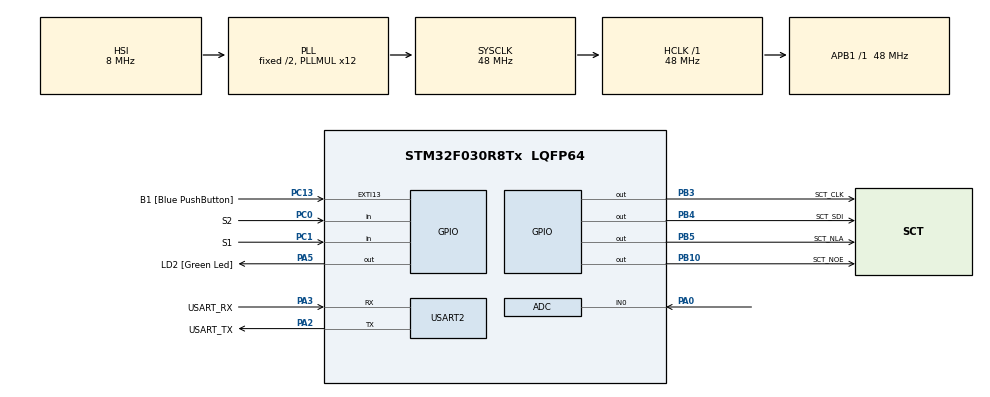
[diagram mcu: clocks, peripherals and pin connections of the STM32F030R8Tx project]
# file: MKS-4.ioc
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ADC.ContinuousConvMode=ENABLE
ADC.Overrun=ADC_OVR_DATA_OVERWRITTEN
ADC.SamplingTime=ADC_SAMPLETIME_239CYCLES_5
Mcu.Family=STM32F0
Mcu.Name=STM32F030R8Tx
Mcu.Package=LQFP64
NVIC.ADC1_IRQn=true\:0\:0\:false\:false\:true\:true\:true\:true
PA0.Mode=IN0
PA0.Signal=ADC_IN0
PA13.GPIO_Label=TMS
PA13.Mode=Serial_Wire
PA13.Signal=SYS_SWDIO
PA14.GPIO_Label=TCK
PA14.Mode=Serial_Wire
PA14.Signal=SYS_SWCLK
PA2.GPIO_Label=USART_TX
PA2.GPIO_Mode=GPIO_MODE_AF_PP
PA2.GPIO_PuPd=GPIO_NOPULL
PA2.GPIO_Speed=GPIO_SPEED_FREQ_LOW
PA2.Mode=Asynchronous
PA2.Signal=USART2_TX
PA3.GPIO_Label=USART_RX
PA3.GPIO_Mode=GPIO_MODE_AF_PP
PA3.GPIO_PuPd=GPIO_NOPULL
PA3.GPIO_Speed=GPIO_SPEED_FREQ_LOW
PA3.Mode=Asynchronous
PA3.Signal=USART2_RX
PA5.GPIO_Label=LD2 [Green Led]
PA5.GPIO_Mode=GPIO_MODE_OUTPUT_PP
PA5.GPIO_PuPd=GPIO_NOPULL
PA5.GPIO_Speed=GPIO_SPEED_FREQ_LOW
PA5.Signal=GPIO_Output
PB10.GPIO_Label=SCT_NOE
PB10.Signal=GPIO_Output
PB3.GPIO_Label=SCT_CLK
PB3.Signal=GPIO_Output
PB4.GPIO_Label=SCT_SDI
PB4.Signal=GPIO_Output
PB5.GPIO_Label=SCT_NLA
PB5.Signal=GPIO_Output
PC0.GPIO_Label=S2
PC0.GPIO_PuPd=GPIO_PULLUP
PC0.Signal=GPIO_Input
PC1.GPIO_Label=S1
PC1.GPIO_PuPd=GPIO_PULLUP
PC1.Signal=GPIO_Input
PC13.GPIO_Label=B1 [Blue PushButton]
PC13.GPIO_ModeDefaultEXTI=GPIO_MODE_IT_FALLING
PC13.Signal=GPXTI13
PC14-OSC32_IN.Mode=LSE-External-Oscillator
PC14-OSC32_IN.Signal=RCC_OSC32_IN
PC15-OSC32_OUT.Mode=LSE-External-Oscillator
PC15-OSC32_OUT.Signal=RCC_OSC32_OUT
PF0-OSC_IN.Mode=HSE-External-Clock-Source
PF0-OSC_IN.Signal=RCC_OSC_IN
PF1-OSC_OUT.Signal=RCC_OSC_OUT
ProjectManager.HeapSize=0x200
ProjectManager.StackSize=0x400
ProjectManager.TargetToolchain=STM32CubeIDE
RCC.AHBFreq_Value=48000000
RCC.APB1Freq_Value=48000000
RCC.APB1TimFreq_Value=48000000
RCC.HCLKFreq_Value=48000000
RCC.PLLMUL=RCC_PLL_MUL12
RCC.SYSCLKFreq_VALUE=48000000
RCC.SYSCLKSource=RCC_SYSCLKSOURCE_PLLCLK
USART2.VirtualMode-Asynchronous=VM_ASYNC
VP_ADC_TempSens_Input.Mode=IN-TempSens
VP_ADC_Vref_Input.Mode=IN-Vrefint
board=NUCLEO-F030R8

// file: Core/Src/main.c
/* USER CODE BEGIN Header */
/**
  ******************************************************************************
  * @file           : main.c
  * @brief          : Main program body
  ******************************************************************************
  * @attention
  *
  * Copyright (c) 2024 STMicroelectronics.
  * All rights reserved.
  *
  * This software is licensed under terms that can be found in the LICENSE file
  * in the root directory of this software component.
  * If no LICENSE file comes with this software, it is provided AS-IS.
  *
  ******************************************************************************
  */
/* USER CODE END Header */
#include "main.h"

/* USER CODE BEGIN Includes */
#include "sct.h"
/* USER CODE END Includes */

/* USER CODE BEGIN PD */
#define ADC_Q 6

/* Temperature sensor calibration value address */
#define TEMP110_CAL_ADDR ((uint16_t*) ((uint32_t) 0x1FFFF7C2))
#define TEMP30_CAL_ADDR ((uint16_t*) ((uint32_t) 0x1FFFF7B8))
/* Internal voltage reference calibration value address */
#define VREFINT_CAL_ADDR ((uint16_t*) ((uint32_t) 0x1FFFF7BA))

/* USER CODE END PD */

ADC_HandleTypeDef hadc;

UART_HandleTypeDef huart2;

/* USER CODE BEGIN PV */
static volatile uint32_t raw_pot, raw_temp, raw_volt;
static enum { SHOW_POT, SHOW_TEMP, SHOW_VOLT } state;
volatile uint32_t time;
volatile uint32_t time_switch;
/* USER CODE END PV */

void SystemClock_Config(void);
static void MX_GPIO_Init(void);
static void MX_USART2_UART_Init(void);
static void MX_ADC_Init(void);

/* USER CODE BEGIN 0 */
void HAL_ADC_ConvCpltCallback(ADC_HandleTypeDef *hadc) {
	static uint32_t avg_pot, channel;

	switch (channel) {
		case 0:
			raw_pot = avg_pot >> ADC_Q;
			avg_pot -= raw_pot;
			avg_pot += HAL_ADC_GetValue(hadc);
			break;
		case 1:
			raw_temp = HAL_ADC_GetValue(hadc);
			break;
		case 2:
			raw_volt = HAL_ADC_GetValue(hadc);
	}

	if (__HAL_ADC_GET_FLAG(hadc, ADC_FLAG_EOS)) {
			channel = 0;
		}
	else {
		channel++;
	}

}
/* USER CODE END 0 */

int main(void)
{

  /* MCU Configuration--------------------------------------------------------*/

  /* Reset of all peripherals, Initializes the Flash interface and the Systick. */
  HAL_Init();

  /* Configure the system clock */
  SystemClock_Config();

  /* Initialize all configured peripherals */
  MX_GPIO_Init();
  MX_USART2_UART_Init();
  MX_ADC_Init();
  /* USER CODE BEGIN 2 */
  HAL_ADCEx_Calibration_Start(&hadc);
  HAL_ADC_Start_IT(&hadc);
  sct_init();
  state = SHOW_POT;
  uint8_t locked_state;
  /* USER CODE END 2 */

  /* Infinite loop */
  /* USER CODE BEGIN WHILE */
  while (1)
  {
	  uint32_t voltage = 330 * (*VREFINT_CAL_ADDR) / raw_volt;
	  int32_t temperature = (raw_temp - (int32_t)(*TEMP30_CAL_ADDR));
	  temperature = temperature * (int32_t)(110 - 30);
	  temperature = temperature / (int32_t)(*TEMP110_CAL_ADDR - *TEMP30_CAL_ADDR);
	  temperature = temperature + 30;

	  if (HAL_GetTick() < (time + 1000) ) {
		  if (locked_state == 0) {
			  state = SHOW_TEMP;
		  } else if (locked_state == 1) {
			  state = SHOW_VOLT;
		  }
	  } else {
		  state = SHOW_POT;
	  }
	 switch (state) {
	  	  	  case SHOW_POT:
	  	  		  // Rescale display and bargraph value from pot
				  sct_value(raw_pot * 500.9 / 4095, raw_pot * 9 / 4095);
				  time_switch = HAL_GetTick();
				  break;
			  case SHOW_TEMP:
				  sct_value(temperature, 0);
				  time_switch = HAL_GetTick();
				  break;
			  case SHOW_VOLT:
				  sct_value(voltage, 0);
				  time_switch = HAL_GetTick();
				  break;
	  }
	  if (HAL_GPIO_ReadPin(S1_GPIO_Port, S1_Pin) == 0) {
		  time = HAL_GetTick();
		  locked_state = 0;
	  } else if (HAL_GPIO_ReadPin(S2_GPIO_Port, S2_Pin) == 0) {
		  time = HAL_GetTick();
		  locked_state = 1;
	  }

    /* USER CODE END WHILE */

  }
}

void SystemClock_Config(void)
{
  RCC_OscInitTypeDef RCC_OscInitStruct = {0};
  RCC_ClkInitTypeDef RCC_ClkInitStruct = {0};

  /** Initializes the RCC Oscillators according to the specified parameters
  * in the RCC_OscInitTypeDef structure.
  */
  RCC_OscInitStruct.OscillatorType = RCC_OSCILLATORTYPE_HSI|RCC_OSCILLATORTYPE_HSI14;
  RCC_OscInitStruct.HSIState = RCC_HSI_ON;
  RCC_OscInitStruct.HSI14State = RCC_HSI14_ON;
  RCC_OscInitStruct.HSICalibrationValue = RCC_HSICALIBRATION_DEFAULT;
  RCC_OscInitStruct.HSI14CalibrationValue = 16;
  RCC_OscInitStruct.PLL.PLLState = RCC_PLL_ON;
  RCC_OscInitStruct.PLL.PLLSource = RCC_PLLSOURCE_HSI;
  RCC_OscInitStruct.PLL.PLLMUL = RCC_PLL_MUL12;
  RCC_OscInitStruct.PLL.PREDIV = RCC_PREDIV_DIV1;
  if (HAL_RCC_OscConfig(&RCC_OscInitStruct) != HAL_OK)
  {
    Error_Handler();
  }

  /** Initializes the CPU, AHB and APB buses clocks
  */
  RCC_ClkInitStruct.ClockType = RCC_CLOCKTYPE_HCLK|RCC_CLOCKTYPE_SYSCLK
                              |RCC_CLOCKTYPE_PCLK1;
  RCC_ClkInitStruct.SYSCLKSource = RCC_SYSCLKSOURCE_PLLCLK;
  RCC_ClkInitStruct.AHBCLKDivider = RCC_SYSCLK_DIV1;
  RCC_ClkInitStruct.APB1CLKDivider = RCC_HCLK_DIV1;

  if (HAL_RCC_ClockConfig(&RCC_ClkInitStruct, FLASH_LATENCY_1) != HAL_OK)
  {
    Error_Handler();
  }
}

static void MX_ADC_Init(void)
{

  ADC_ChannelConfTypeDef sConfig = {0};

  /** Configure the global features of the ADC (Clock, Resolution, Data Alignment and number of conversion)
  */
  hadc.Instance = ADC1;
  hadc.Init.ClockPrescaler = ADC_CLOCK_ASYNC_DIV1;
  hadc.Init.Resolution = ADC_RESOLUTION_12B;
  hadc.Init.DataAlign = ADC_DATAALIGN_RIGHT;
  hadc.Init.ScanConvMode = ADC_SCAN_DIRECTION_FORWARD;
  hadc.Init.EOCSelection = ADC_EOC_SINGLE_CONV;
  hadc.Init.LowPowerAutoWait = DISABLE;
  hadc.Init.LowPowerAutoPowerOff = DISABLE;
  hadc.Init.ContinuousConvMode = ENABLE;
  hadc.Init.DiscontinuousConvMode = DISABLE;
  hadc.Init.ExternalTrigConv = ADC_SOFTWARE_START;
  hadc.Init.ExternalTrigConvEdge = ADC_EXTERNALTRIGCONVEDGE_NONE;
  hadc.Init.DMAContinuousRequests = DISABLE;
  hadc.Init.Overrun = ADC_OVR_DATA_OVERWRITTEN;
  if (HAL_ADC_Init(&hadc) != HAL_OK)
  {
    Error_Handler();
  }

  /** Configure for the selected ADC regular channel to be converted.
  */
  sConfig.Channel = ADC_CHANNEL_0;
  sConfig.Rank = ADC_RANK_CHANNEL_NUMBER;
  sConfig.SamplingTime = ADC_SAMPLETIME_239CYCLES_5;
  if (HAL_ADC_ConfigChannel(&hadc, &sConfig) != HAL_OK)
  {
    Error_Handler();
  }

  /** Configure for the selected ADC regular channel to be converted.
  */
  sConfig.Channel = ADC_CHANNEL_TEMPSENSOR;
  if (HAL_ADC_ConfigChannel(&hadc, &sConfig) != HAL_OK)
  {
    Error_Handler();
  }

  /** Configure for the selected ADC regular channel to be converted.
  */
  sConfig.Channel = ADC_CHANNEL_VREFINT;
  if (HAL_ADC_ConfigChannel(&hadc, &sConfig) != HAL_OK)
  {
    Error_Handler();
  }

}

static void MX_USART2_UART_Init(void)
{

  huart2.Instance = USART2;
  huart2.Init.BaudRate = 38400;
  huart2.Init.WordLength = UART_WORDLENGTH_8B;
  huart2.Init.StopBits = UART_STOPBITS_1;
  huart2.Init.Parity = UART_PARITY_NONE;
  huart2.Init.Mode = UART_MODE_TX_RX;
  huart2.Init.HwFlowCtl = UART_HWCONTROL_NONE;
  huart2.Init.OverSampling = UART_OVERSAMPLING_16;
  huart2.Init.OneBitSampling = UART_ONE_BIT_SAMPLE_DISABLE;
  huart2.AdvancedInit.AdvFeatureInit = UART_ADVFEATURE_NO_INIT;
  if (HAL_UART_Init(&huart2) != HAL_OK)
  {
    Error_Handler();
  }

}

static void MX_GPIO_Init(void)
{
  GPIO_InitTypeDef GPIO_InitStruct = {0};

  /* GPIO Ports Clock Enable */
  __HAL_RCC_GPIOC_CLK_ENABLE();
  __HAL_RCC_GPIOF_CLK_ENABLE();
  __HAL_RCC_GPIOA_CLK_ENABLE();
  __HAL_RCC_GPIOB_CLK_ENABLE();

  /*Configure GPIO pin Output Level */
  HAL_GPIO_WritePin(LD2_GPIO_Port, LD2_Pin, GPIO_PIN_RESET);

  /*Configure GPIO pin Output Level */
  HAL_GPIO_WritePin(GPIOB, SCT_NOE_Pin|SCT_CLK_Pin|SCT_SDI_Pin|SCT_NLA_Pin, GPIO_PIN_RESET);

  /*Configure GPIO pin : B1_Pin */
  GPIO_InitStruct.Pin = B1_Pin;
  GPIO_InitStruct.Mode = GPIO_MODE_IT_FALLING;
  GPIO_InitStruct.Pull = GPIO_NOPULL;
  HAL_GPIO_Init(B1_GPIO_Port, &GPIO_InitStruct);

  /*Configure GPIO pins : S2_Pin S1_Pin */
  GPIO_InitStruct.Pin = S2_Pin|S1_Pin;
  GPIO_InitStruct.Mode = GPIO_MODE_INPUT;
  GPIO_InitStruct.Pull = GPIO_PULLUP;
  HAL_GPIO_Init(GPIOC, &GPIO_InitStruct);

  /*Configure GPIO pin : LD2_Pin */
  GPIO_InitStruct.Pin = LD2_Pin;
  GPIO_InitStruct.Mode = GPIO_MODE_OUTPUT_PP;
  GPIO_InitStruct.Pull = GPIO_NOPULL;
  GPIO_InitStruct.Speed = GPIO_SPEED_FREQ_LOW;
  HAL_GPIO_Init(LD2_GPIO_Port, &GPIO_InitStruct);

  /*Configure GPIO pins : SCT_NOE_Pin SCT_CLK_Pin SCT_SDI_Pin SCT_NLA_Pin */
  GPIO_InitStruct.Pin = SCT_NOE_Pin|SCT_CLK_Pin|SCT_SDI_Pin|SCT_NLA_Pin;
  GPIO_InitStruct.Mode = GPIO_MODE_OUTPUT_PP;
  GPIO_InitStruct.Pull = GPIO_NOPULL;
  GPIO_InitStruct.Speed = GPIO_SPEED_FREQ_LOW;
  HAL_GPIO_Init(GPIOB, &GPIO_InitStruct);

}

void Error_Handler(void)
{
  __disable_irq();
  while (1)
  {
  }
}
